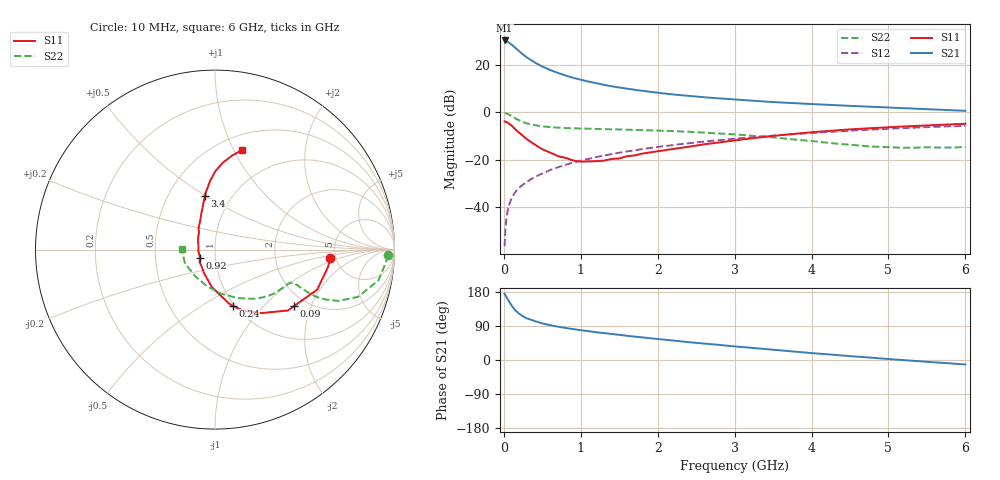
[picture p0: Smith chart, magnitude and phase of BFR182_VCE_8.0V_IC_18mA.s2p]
! Infineon Technologies  Discrete & RF Semiconductors
! BFR182
! VCE =  8.0 V,  IC =  18 mA
! Common Emitter S-Parameters:  Nov 2015
# GHz  S  MA  R  50
!  f  S11  S21  S12  S22
! GHz  MAG  ANG  MAG  ANG  MAG  ANG  MAG  ANG
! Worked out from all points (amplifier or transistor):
!   210 points, 10 MHz to 6 GHz, reference 50 ohm
!   highest |S21| = 30.3 dB at 10 MHz (marker M1)
!   |S21| within 3 dB of that: start of sweep to 144.6 MHz
!   unconditionally stable (mu >= 1): 664.2 MHz to 2.708 GHz
!   at 185 MHz: K = 0.64, MSG = 29.2 dB, |S12| = -32.3 dB
!   at 1.52 GHz: K = 1.04, MAG = 12.4 dB, |S12| = -16.9 dB
!   at 6 GHz: K = 0.90, MSG = 3.2 dB, |S12| = -5.7 dB
!   S11 on the Smith chart (normalised r, x): 10 MHz: 4.49, -0.72; 90 MHz: 1.71, -1.52; 240 MHz: 0.98, -0.69; 920 MHz: 0.84, -0.08; 3.4 GHz: 0.75, +0.50; 6 GHz: 0.65, +1.08
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0.01  0.6434 -4.2  32.89 174.8  0.0015 86.3  0.9662 -1.9
0.02  0.6376 -8.6  32.5 170.8  0.0034 87.1  0.9542 -4.4
0.05  0.6115 -21.4  30.95 159.9  0.0085 81.1  0.927 -10.6
0.09  0.5409 -35.7  27.68 147.2  0.0139 75.7  0.8552 -16.6
0.1  0.5294 -39.8  27.11 143.6  0.0152 74.9  0.8389 -18.3
0.15  0.4387 -53.8  22.89 130.6  0.021 71.3  0.7443 -22.6
0.2  0.3738 -65.3  19.41 121.9  0.0257 70.6  0.6759 -24.3
0.24  0.3286 -72.5  17.13 116.5  0.0291 69.9  0.6332 -24.9
0.26  0.3081 -75.8  16.14 114.0  0.0308 70.0  0.6147 -25.0
0.3  0.2692 -81.3  14.39 109.7  0.0342 70.6  0.5834 -24.9
0.4  0.2092 -94.8  11.33 102.6  0.0429 71.1  0.5356 -24.2
0.5  0.1666 -105.9  9.239 96.5  0.0512 71.8  0.5062 -23.5
0.7  0.1203 -127.8  6.806 88.0  0.0689 72.3  0.4753 -23.0
0.92  0.0951 -152.3  5.257 80.9  0.0888 71.5  0.4594 -23.7
1.02  0.0916 -166.1  4.788 78.1  0.0974 71.3  0.4545 -24.3
1.4  0.1041 155.0  3.551 68.7  0.1315 69.1  0.4391 -27.9
2.02  0.1528 126.6  2.571 55.1  0.1879 63.9  0.4122 -36.0
3.1  0.2683 103.9  1.815 34.2  0.2866 53.2  0.3325 -55.3
3.4  0.3058 100.5  1.687 28.9  0.3137 50.0  0.3044 -62.6
4.1  0.3914 93.4  1.47 16.7  0.376 42.0  0.238 -85.6
5.1  0.4943 83.8  1.249 1.1  0.4583 29.9  0.1811 -133.1
6  0.574 74.9  1.077 -11.8  0.5173 18.0  0.1863 179.1
